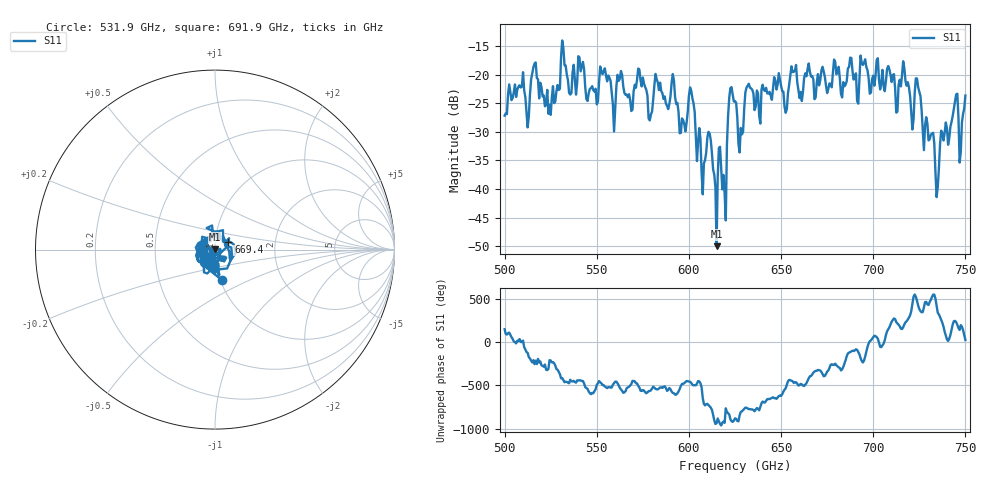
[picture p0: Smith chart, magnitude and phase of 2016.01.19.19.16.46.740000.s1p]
!Created with skrf (http://scikit-rf.org).
# GHz S RI R 50.0
!freq ReS11 ImS11
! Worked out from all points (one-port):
!   401 points, 500 GHz to 750 GHz, reference 50 ohm
!   lowest |S11| = -50.0 dB at 615 GHz (marker M1), VSWR 1.01, Z = 49.7 + j0.181 ohm
!   |S11| at or under -10 dB: start of sweep to end of sweep
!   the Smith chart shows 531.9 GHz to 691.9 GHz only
!   S11 on the Smith chart (normalised r, x): 531.9 GHz: 1.01, -0.35; 669.4 GHz: 1.16, +0.10; 691.9 GHz: 0.95, -0.10
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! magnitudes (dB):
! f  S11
! 500 GHz  -27.2
! 508.8 GHz  -22.3
! 512.5 GHz  -29.2
! 516.2 GHz  -18.1
! 523.8 GHz  -26.8
! 531.2 GHz  -14.0
! 531.9 GHz  -15.3
! 559.4 GHz  -29.9
! 562.5 GHz  -20.7
! 593.8 GHz  -24.9
! 601.2 GHz  -22.8
! 607.5 GHz  -40.9
! 611.2 GHz  -30.3
! 615 GHz  -50.0
! 619.4 GHz  -40.8
! 622.5 GHz  -22.4
! 625 GHz  -24.6
! 628.1 GHz  -29.3
! 631.9 GHz  -21.9
! 652.5 GHz  -26.7
! 656.2 GHz  -19.6
! 669.4 GHz  -21.4
! 687.5 GHz  -17.0
! 691.9 GHz  -25.1
! 718.8 GHz  -21.3
! 724.4 GHz  -22.2
! 734.4 GHz  -41.4
! 750 GHz  -23.7
